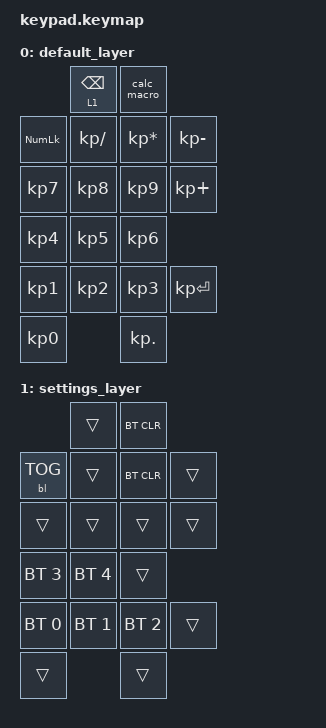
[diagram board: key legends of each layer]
#include <behaviors.dtsi>
#include <dt-bindings/zmk/keys.h>
#include <dt-bindings/zmk/bt.h>
#include <dt-bindings/zmk/backlight.h>

/ {
    behaviors {
        /* Windows 계산기 실행 매크로: GUI+R로 실행 대화상자를 연 뒤
           "calc"를 입력하고 Enter. DEL 키 위치에 바인딩됨 (default_layer). */
        calc_macro: calc_macro {
            compatible = "zmk,behavior-macro";
            #binding-cells = <0>;
            wait-ms = <30>;
            tap-ms = <40>;
            bindings
                = <&macro_press &kp LGUI>
                , <&macro_wait_time 100>
                , <&macro_tap &kp R>
                , <&macro_wait_time 100>
                , <&macro_release &kp LGUI>
                , <&macro_wait_time 300>
                , <&macro_tap &kp C &kp A &kp L &kp C &kp RET>
                ;
        };
    };

    keymap {
        compatible = "zmk,keymap";

        default_layer {
            bindings = <
                                     &lt 1 BSPC       &calc_macro
                &kp KP_NUM           &kp KP_SLASH     &kp KP_MULTIPLY  &kp KP_MINUS
                &kp KP_N7            &kp KP_N8        &kp KP_N9        &kp KP_PLUS
                &kp KP_N4            &kp KP_N5        &kp KP_N6
                &kp KP_N1            &kp KP_N2        &kp KP_N3        &kp KP_ENTER
                &kp KP_N0                             &kp KP_DOT
            >;
        };

        settings_layer {
            bindings = <
                                     &trans           &bt BT_CLR
                &bl BL_TOG           &trans           &bt BT_CLR       &trans
                &trans               &trans           &trans           &trans
                &bt BT_SEL 3         &bt BT_SEL 4     &trans
                &bt BT_SEL 0         &bt BT_SEL 1     &bt BT_SEL 2     &trans
                &trans                                &trans
            >;
        };
    };
};
